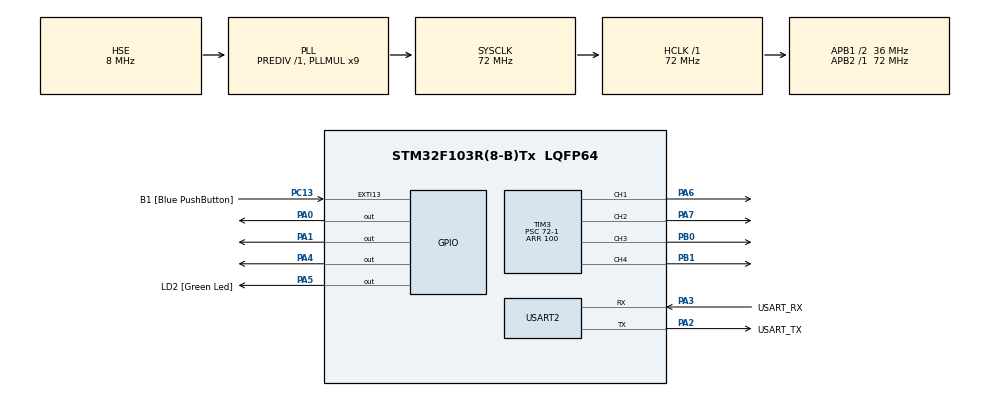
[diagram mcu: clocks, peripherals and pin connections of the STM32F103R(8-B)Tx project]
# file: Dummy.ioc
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Mcu.Family=STM32F1
Mcu.Name=STM32F103R(8-B)Tx
Mcu.Package=LQFP64
NVIC.EXTI15_10_IRQn=true\:0\:0\:false\:false\:true\:true\:true
NVIC.PriorityGroup=NVIC_PRIORITYGROUP_4
PA0-WKUP.Signal=GPIO_Output
PA1.Signal=GPIO_Output
PA13.GPIO_Label=TMS
PA13.Mode=Serial_Wire
PA13.Signal=SYS_JTMS-SWDIO
PA14.GPIO_Label=TCK
PA14.Mode=Serial_Wire
PA14.Signal=SYS_JTCK-SWCLK
PA2.GPIO_Label=USART_TX
PA2.GPIO_Mode=GPIO_MODE_AF_PP
PA2.GPIO_PuPd=GPIO_NOPULL
PA2.GPIO_Speed=GPIO_SPEED_FREQ_LOW
PA2.Mode=Asynchronous
PA2.Signal=USART2_TX
PA3.GPIO_Label=USART_RX
PA3.GPIO_Mode=GPIO_MODE_AF_PP
PA3.GPIO_PuPd=GPIO_NOPULL
PA3.GPIO_Speed=GPIO_SPEED_FREQ_LOW
PA3.Mode=Asynchronous
PA3.Signal=USART2_RX
PA4.Signal=GPIO_Output
PA5.GPIO_Label=LD2 [Green Led]
PA5.GPIO_ModeDefaultOutputPP=GPIO_MODE_OUTPUT_PP
PA5.GPIO_PuPd=GPIO_NOPULL
PA5.GPIO_Speed=GPIO_SPEED_FREQ_LOW
PA5.Signal=GPIO_Output
PA6.Signal=S_TIM3_CH1
PA7.Signal=S_TIM3_CH2
PB0.Signal=S_TIM3_CH3
PB1.Signal=S_TIM3_CH4
PB3.GPIO_Label=SWO
PB3.Signal=SYS_JTDO-TRACESWO
PC13-TAMPER-RTC.GPIO_Label=B1 [Blue PushButton]
PC13-TAMPER-RTC.GPIO_PuPd=GPIO_NOPULL
PC13-TAMPER-RTC.Signal=GPXTI13
PC14-OSC32_IN.Mode=LSE-External-Oscillator
PC14-OSC32_IN.Signal=RCC_OSC32_IN
PC15-OSC32_OUT.Mode=LSE-External-Oscillator
PC15-OSC32_OUT.Signal=RCC_OSC32_OUT
PD0-OSC_IN.Mode=HSE-External-Oscillator
PD0-OSC_IN.Signal=RCC_OSC_IN
PD1-OSC_OUT.Mode=HSE-External-Oscillator
PD1-OSC_OUT.Signal=RCC_OSC_OUT
ProjectManager.HeapSize=0x200
ProjectManager.StackSize=0x400
ProjectManager.TargetToolchain=MDK-ARM V5.32
RCC.AHBFreq_Value=72000000
RCC.APB1CLKDivider=RCC_HCLK_DIV2
RCC.APB1Freq_Value=36000000
RCC.APB1TimFreq_Value=72000000
RCC.APB2Freq_Value=72000000
RCC.APB2TimFreq_Value=72000000
RCC.HCLKFreq_Value=72000000
RCC.PLLMUL=RCC_PLL_MUL9
RCC.PLLSourceVirtual=RCC_PLLSOURCE_HSE
RCC.RTCClockSelection=RCC_RTCCLKSOURCE_LSE
RCC.SYSCLKFreq_VALUE=72000000
RCC.SYSCLKSource=RCC_SYSCLKSOURCE_PLLCLK
RCC.USBFreq_Value=72000000
SH.S_TIM3_CH1.0=TIM3_CH1,PWM Generation1 CH1
SH.S_TIM3_CH2.0=TIM3_CH2,PWM Generation2 CH2
SH.S_TIM3_CH3.0=TIM3_CH3,PWM Generation3 CH3
SH.S_TIM3_CH4.0=TIM3_CH4,PWM Generation4 CH4
TIM3.Channel-PWM\ Generation1\ CH1=TIM_CHANNEL_1
TIM3.Channel-PWM\ Generation2\ CH2=TIM_CHANNEL_2
TIM3.Channel-PWM\ Generation3\ CH3=TIM_CHANNEL_3
TIM3.Channel-PWM\ Generation4\ CH4=TIM_CHANNEL_4
TIM3.Period=100
TIM3.Prescaler=72-1
USART2.VirtualMode=VM_ASYNC
board=NUCLEO-F103RB

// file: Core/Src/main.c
/* USER CODE BEGIN Header */
/**
  ******************************************************************************
  * @file           : main.c
  * @brief          : Main program body
  ******************************************************************************
  * @attention
  *
  * Copyright (c) 2022 STMicroelectronics.
  * All rights reserved.
  *
  * This software is licensed under terms that can be found in the LICENSE file
  * in the root directory of this software component.
  * If no LICENSE file comes with this software, it is provided AS-IS.
  *
  ******************************************************************************
  */
/* USER CODE END Header */
#include "main.h"
#include "tim.h"
#include "usart.h"
#include "gpio.h"

/* USER CODE BEGIN Includes */
#include <string.h>
#include "stdio.h"
#include "PWM.h"
/* USER CODE END Includes */

/* USER CODE BEGIN PV */
uint8_t Rxbuffer[3];
uint8_t TX_Intro[50];
uint8_t TxBuffer[50];
signed int i = 0;//counter for the input number
/* USER CODE END PV */

void SystemClock_Config(void);

int main(void)
{

  /* MCU Configuration--------------------------------------------------------*/

  /* Reset of all peripherals, Initializes the Flash interface and the Systick. */
  HAL_Init();

  /* Configure the system clock */
  SystemClock_Config();

  /* Initialize all configured peripherals */
  MX_GPIO_Init();
  MX_TIM3_Init();
  MX_USART2_UART_Init();
  /* USER CODE BEGIN 2 */

	HAL_TIM_PWM_Start(&htim3, TIM_CHANNEL_1);
 	HAL_TIM_PWM_Start(&htim3, TIM_CHANNEL_2);
 	HAL_TIM_PWM_Start(&htim3, TIM_CHANNEL_3);
  /* USER CODE END 2 */

  /* Infinite loop */
  /* USER CODE BEGIN WHILE */
	strcpy((char *)TX_Intro, "Hello, this is Mingxiao's command line interface\n\r");
	HAL_UART_Transmit(&huart2, TX_Intro, sizeof(TX_Intro), 300);
  while (1)
  {
    /* USER CODE END WHILE */
		if(HAL_UART_Receive(&huart2,Rxbuffer,1,100)==HAL_OK){
		//printf("This is the demo!");
			TxBuffer[0] = Rxbuffer[0];
			if(TxBuffer[0]=='a'){
				printf("compass Right");
			  compass_F();
			}else if (TxBuffer[0]=='d') {
				printf("compass Left");
				compass_R();
			}else if (TxBuffer[0]=='w'){
				printf("Elevation Up");
				vertical_up();
			}
			 else if (TxBuffer[0]=='s'){
				printf("Elevation Down");
				 vertical_down();
			}else if (TxBuffer[0]=='q'){
				printf("Skew Left");
				skew_L();
			}else if (TxBuffer[0]=='e'){
				printf("Skew Right");
				skew_R();
			}else if(TxBuffer[0]=='p'){
				printf("Pause");
				TIM3->CCR1=0;
				TIM3->CCR2=0;
				TIM3->CCR3=0;
			}
		}

  }
}

void SystemClock_Config(void)
{
  RCC_OscInitTypeDef RCC_OscInitStruct = {0};
  RCC_ClkInitTypeDef RCC_ClkInitStruct = {0};

  /** Initializes the RCC Oscillators according to the specified parameters
  * in the RCC_OscInitTypeDef structure.
  */
  RCC_OscInitStruct.OscillatorType = RCC_OSCILLATORTYPE_HSE;
  RCC_OscInitStruct.HSEState = RCC_HSE_ON;
  RCC_OscInitStruct.HSEPredivValue = RCC_HSE_PREDIV_DIV1;
  RCC_OscInitStruct.HSIState = RCC_HSI_ON;
  RCC_OscInitStruct.PLL.PLLState = RCC_PLL_ON;
  RCC_OscInitStruct.PLL.PLLSource = RCC_PLLSOURCE_HSE;
  RCC_OscInitStruct.PLL.PLLMUL = RCC_PLL_MUL9;
  if (HAL_RCC_OscConfig(&RCC_OscInitStruct) != HAL_OK)
  {
    Error_Handler();
  }
  /** Initializes the CPU, AHB and APB buses clocks
  */
  RCC_ClkInitStruct.ClockType = RCC_CLOCKTYPE_HCLK|RCC_CLOCKTYPE_SYSCLK
                              |RCC_CLOCKTYPE_PCLK1|RCC_CLOCKTYPE_PCLK2;
  RCC_ClkInitStruct.SYSCLKSource = RCC_SYSCLKSOURCE_PLLCLK;
  RCC_ClkInitStruct.AHBCLKDivider = RCC_SYSCLK_DIV1;
  RCC_ClkInitStruct.APB1CLKDivider = RCC_HCLK_DIV2;
  RCC_ClkInitStruct.APB2CLKDivider = RCC_HCLK_DIV1;

  if (HAL_RCC_ClockConfig(&RCC_ClkInitStruct, FLASH_LATENCY_2) != HAL_OK)
  {
    Error_Handler();
  }
}

/* USER CODE BEGIN 4 */
int fputc(int ch,FILE *f)
{
	HAL_UART_Transmit (&huart2 ,(uint8_t *)&ch,1,HAL_MAX_DELAY );
	return ch;
}
/* USER CODE END 4 */

void Error_Handler(void)
{
  __disable_irq();
  while (1)
  {
  }
}
